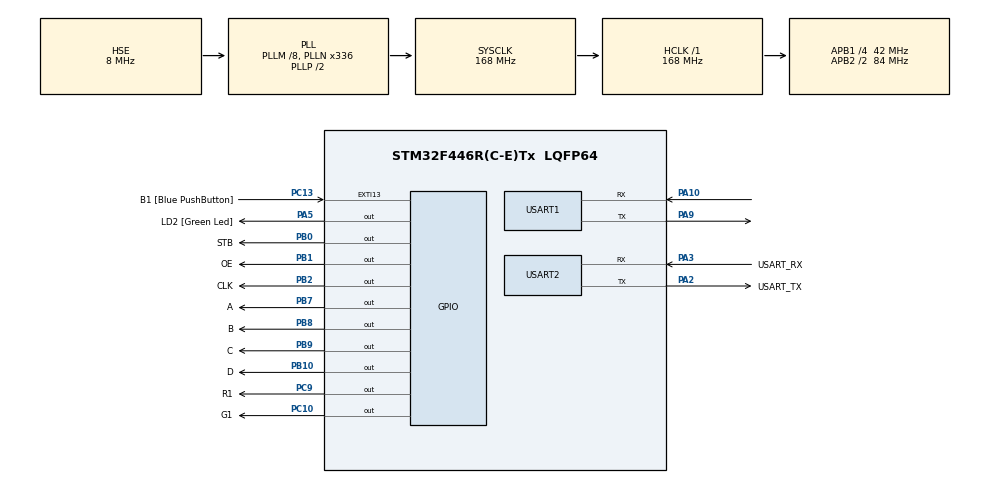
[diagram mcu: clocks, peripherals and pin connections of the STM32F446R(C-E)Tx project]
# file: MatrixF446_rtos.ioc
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ADC1.Channel-0\#ChannelRegularConversion=ADC_CHANNEL_TEMPSENSOR
ADC1.NbrOfConversion=1
ADC1.NbrOfConversionFlag=1
ADC1.Rank-0\#ChannelRegularConversion=1
ADC1.SamplingTime-0\#ChannelRegularConversion=ADC_SAMPLETIME_3CYCLES
ADC1.master=1
Dma.Request0=USART2_TX
Dma.Request1=USART2_RX
Dma.Request2=USART1_RX
Dma.Request3=USART1_TX
Dma.USART1_RX.2.Direction=DMA_PERIPH_TO_MEMORY
Dma.USART1_RX.2.FIFOMode=DMA_FIFOMODE_DISABLE
Dma.USART1_RX.2.Instance=DMA2_Stream2
Dma.USART1_RX.2.MemDataAlignment=DMA_MDATAALIGN_BYTE
Dma.USART1_RX.2.MemInc=DMA_MINC_ENABLE
Dma.USART1_RX.2.Mode=DMA_CIRCULAR
Dma.USART1_RX.2.PeriphDataAlignment=DMA_PDATAALIGN_BYTE
Dma.USART1_RX.2.PeriphInc=DMA_PINC_DISABLE
Dma.USART1_RX.2.Priority=DMA_PRIORITY_LOW
Dma.USART1_TX.3.Direction=DMA_MEMORY_TO_PERIPH
Dma.USART1_TX.3.FIFOMode=DMA_FIFOMODE_DISABLE
Dma.USART1_TX.3.Instance=DMA2_Stream7
Dma.USART1_TX.3.MemDataAlignment=DMA_MDATAALIGN_BYTE
Dma.USART1_TX.3.MemInc=DMA_MINC_ENABLE
Dma.USART1_TX.3.Mode=DMA_NORMAL
Dma.USART1_TX.3.PeriphDataAlignment=DMA_PDATAALIGN_BYTE
Dma.USART1_TX.3.PeriphInc=DMA_PINC_DISABLE
Dma.USART1_TX.3.Priority=DMA_PRIORITY_LOW
Dma.USART2_RX.1.Direction=DMA_PERIPH_TO_MEMORY
Dma.USART2_RX.1.FIFOMode=DMA_FIFOMODE_DISABLE
Dma.USART2_RX.1.Instance=DMA1_Stream5
Dma.USART2_RX.1.MemDataAlignment=DMA_MDATAALIGN_BYTE
Dma.USART2_RX.1.MemInc=DMA_MINC_ENABLE
Dma.USART2_RX.1.Mode=DMA_NORMAL
Dma.USART2_RX.1.PeriphDataAlignment=DMA_PDATAALIGN_BYTE
Dma.USART2_RX.1.PeriphInc=DMA_PINC_DISABLE
Dma.USART2_RX.1.Priority=DMA_PRIORITY_LOW
Dma.USART2_TX.0.Direction=DMA_MEMORY_TO_PERIPH
Dma.USART2_TX.0.FIFOMode=DMA_FIFOMODE_DISABLE
Dma.USART2_TX.0.Instance=DMA1_Stream6
Dma.USART2_TX.0.MemDataAlignment=DMA_MDATAALIGN_BYTE
Dma.USART2_TX.0.MemInc=DMA_MINC_ENABLE
Dma.USART2_TX.0.Mode=DMA_NORMAL
Dma.USART2_TX.0.PeriphDataAlignment=DMA_PDATAALIGN_BYTE
Dma.USART2_TX.0.PeriphInc=DMA_PINC_DISABLE
Dma.USART2_TX.0.Priority=DMA_PRIORITY_LOW
FREERTOS.MEMORY_ALLOCATION=0
FREERTOS.Queues01=uartQueue,60,uint8_t,0,Dynamic,NULL,NULL
FREERTOS.Tasks01=matrixOutTask,0,128,StartMatrixOutTask,Default,NULL,Dynamic,NULL,NULL;uartParseTask,0,128,StartUartParseTask,Default,NULL,Dynamic,NULL,NULL
FREERTOS.Timers01=myTimer01,Callback01,osTimerPeriodic,Default,NULL,Dynamic,NULL
FREERTOS.configENABLE_BACKWARD_COMPATIBILITY=0
FREERTOS.configGENERATE_RUN_TIME_STATS=1
FREERTOS.configUSE_PREEMPTION=1
FREERTOS.configUSE_TIMERS=1
FREERTOS.configUSE_TRACE_FACILITY=1
Mcu.Family=STM32F4
Mcu.Name=STM32F446R(C-E)Tx
Mcu.Package=LQFP64
NVIC.DMA1_Stream5_IRQn=true\:5\:0\:false\:false\:true\:true\:false
NVIC.DMA1_Stream6_IRQn=true\:5\:0\:false\:false\:true\:true\:false
NVIC.DMA2_Stream2_IRQn=true\:5\:0\:false\:false\:true\:true\:false
NVIC.DMA2_Stream7_IRQn=true\:5\:0\:false\:false\:true\:true\:false
NVIC.PriorityGroup=NVIC_PRIORITYGROUP_4
NVIC.RCC_IRQn=true\:5\:0\:false\:false\:true\:true\:true
NVIC.RTC_Alarm_IRQn=true\:5\:0\:false\:false\:true\:true\:true
NVIC.TIM1_UP_TIM10_IRQn=true\:0\:0\:false\:false\:true\:false\:false
NVIC.TIM3_IRQn=true\:5\:0\:false\:false\:true\:true\:true
NVIC.TIM8_CC_IRQn=true\:5\:0\:false\:false\:true\:true\:true
NVIC.TimeBase=TIM1_UP_TIM10_IRQn
NVIC.TimeBaseIP=TIM1
NVIC.USART1_IRQn=true\:5\:0\:false\:false\:true\:true\:true
PA10.Mode=Asynchronous
PA10.Signal=USART1_RX
PA13.GPIO_Label=TMS
PA13.Mode=Trace_Asynchronous_SW
PA13.Signal=SYS_JTMS-SWDIO
PA14.GPIO_Label=TCK
PA14.Mode=Trace_Asynchronous_SW
PA14.Signal=SYS_JTCK-SWCLK
PA2.GPIO_Label=USART_TX
PA2.Mode=Asynchronous
PA2.Signal=USART2_TX
PA3.GPIO_Label=USART_RX
PA3.Mode=Asynchronous
PA3.Signal=USART2_RX
PA5.GPIO_Label=LD2 [Green Led]
PA5.Signal=GPIO_Output
PA9.Mode=Asynchronous
PA9.Signal=USART1_TX
PB0.GPIO_Label=STB
PB0.GPIO_ModeDefaultOutputPP=GPIO_MODE_OUTPUT_PP
PB0.GPIO_PuPd=GPIO_NOPULL
PB0.GPIO_Speed=GPIO_SPEED_FREQ_VERY_HIGH
PB0.Signal=GPIO_Output
PB1.GPIO_Label=OE
PB1.GPIO_ModeDefaultOutputPP=GPIO_MODE_OUTPUT_PP
PB1.GPIO_PuPd=GPIO_NOPULL
PB1.GPIO_Speed=GPIO_SPEED_FREQ_VERY_HIGH
PB1.Signal=GPIO_Output
PB10.GPIO_Label=D
PB10.GPIO_ModeDefaultOutputPP=GPIO_MODE_OUTPUT_PP
PB10.GPIO_PuPd=GPIO_NOPULL
PB10.GPIO_Speed=GPIO_SPEED_FREQ_VERY_HIGH
PB10.Signal=GPIO_Output
PB2.GPIO_Label=CLK
PB2.GPIO_ModeDefaultOutputPP=GPIO_MODE_OUTPUT_PP
PB2.GPIO_PuPd=GPIO_NOPULL
PB2.GPIO_Speed=GPIO_SPEED_FREQ_VERY_HIGH
PB2.Signal=GPIO_Output
PB3.GPIO_Label=SWO
PB3.Mode=Trace_Asynchronous_SW
PB3.Signal=SYS_JTDO-SWO
PB7.GPIO_Label=A
PB7.GPIO_ModeDefaultOutputPP=GPIO_MODE_OUTPUT_PP
PB7.GPIO_PuPd=GPIO_NOPULL
PB7.GPIO_Speed=GPIO_SPEED_FREQ_VERY_HIGH
PB7.Signal=GPIO_Output
PB8.GPIO_Label=B
PB8.GPIO_ModeDefaultOutputPP=GPIO_MODE_OUTPUT_PP
PB8.GPIO_PuPd=GPIO_NOPULL
PB8.GPIO_Speed=GPIO_SPEED_FREQ_VERY_HIGH
PB8.Signal=GPIO_Output
PB9.GPIO_Label=C
PB9.GPIO_ModeDefaultOutputPP=GPIO_MODE_OUTPUT_PP
PB9.GPIO_PuPd=GPIO_NOPULL
PB9.GPIO_Speed=GPIO_SPEED_FREQ_VERY_HIGH
PB9.Signal=GPIO_Output
PC10.GPIO_Label=G1
PC10.GPIO_ModeDefaultOutputPP=GPIO_MODE_OUTPUT_PP
PC10.GPIO_PuPd=GPIO_NOPULL
PC10.GPIO_Speed=GPIO_SPEED_FREQ_VERY_HIGH
PC10.Signal=GPIO_Output
PC13.GPIO_Label=B1 [Blue PushButton]
PC13.GPIO_ModeDefaultEXTI=GPIO_MODE_EVT_FALLING
PC13.Signal=GPXTI13
PC14-OSC32_IN.Mode=LSE-External-Oscillator
PC14-OSC32_IN.Signal=RCC_OSC32_IN
PC15-OSC32_OUT.Mode=LSE-External-Oscillator
PC15-OSC32_OUT.Signal=RCC_OSC32_OUT
PC9.GPIO_Label=R1
PC9.GPIO_ModeDefaultOutputPP=GPIO_MODE_OUTPUT_PP
PC9.GPIO_PuPd=GPIO_NOPULL
PC9.GPIO_Speed=GPIO_SPEED_FREQ_VERY_HIGH
PC9.Signal=GPIO_Output
PH0-OSC_IN.Mode=HSE-External-Oscillator
PH0-OSC_IN.Signal=RCC_OSC_IN
PH1-OSC_OUT.Mode=HSE-External-Oscillator
PH1-OSC_OUT.Signal=RCC_OSC_OUT
ProjectManager.HeapSize=0x200
ProjectManager.StackSize=0x400
ProjectManager.TargetToolchain=MDK-ARM V5
RCC.48MHZClocksFreq_Value=84000000
RCC.AHBFreq_Value=168000000
RCC.APB1CLKDivider=RCC_HCLK_DIV4
RCC.APB1Freq_Value=42000000
RCC.APB1TimFreq_Value=84000000
RCC.APB2CLKDivider=RCC_HCLK_DIV2
RCC.APB2Freq_Value=84000000
RCC.APB2TimFreq_Value=168000000
RCC.CortexFreq_Value=168000000
RCC.FLatency-AdvancedSettings=FLASH_LATENCY_5
RCC.HCLKFreq_Value=168000000
RCC.HSE_VALUE=8000000
RCC.HSI_VALUE=16000000
RCC.PLLM=8
RCC.PLLN=336
RCC.PLLSourceVirtual=RCC_PLLSOURCE_HSE
RCC.RCC_RTC_Clock_SourceVirtual=RCC_RTCCLKSOURCE_HSE_DIV8
RCC.RCC_RTC_Clock_Source_FROM_HSE=RCC_RTCCLKSOURCE_HSE_DIV8
RCC.SYSCLKFreq_VALUE=168000000
RCC.SYSCLKSource=RCC_SYSCLKSOURCE_PLLCLK
RCC.USBFreq_Value=168000000
RCC.VCOOutputFreq_Value=336000000
RTC.Alarm=RTC_ALARM_A
RTC.AsynchPrediv=63
RTC.Hours=12
RTC.SynchPrediv=15624
RTC.Year=18
TIM3.Channel-Output\ Compare1\ No\ Output=TIM_CHANNEL_1
TIM3.Period=42
TIM3.Prescaler=1
TIM8.Channel-Output\ Compare1\ No\ Output=TIM_CHANNEL_1
TIM8.CounterMode=TIM_COUNTERMODE_DOWN
TIM8.Period=42
TIM8.Prescaler=1
USART1.VirtualMode=VM_ASYNC
USART2.VirtualMode=VM_ASYNC
VP_ADC1_TempSens_Input.Mode=IN-TempSens
VP_FREERTOS_VS_ENABLE.Mode=Enabled
VP_RTC_VS_RTC_Activate.Mode=RTC_Enabled
VP_RTC_VS_RTC_Alarm_A_Intern.Mode=Alarm A
VP_RTC_VS_RTC_Calendar.Mode=RTC_Calendar
VP_SYS_VS_tim1.Mode=TIM1
VP_TIM3_VS_ClockSourceINT.Mode=Internal
VP_TIM3_VS_no_output1.Mode=Output Compare1 No Output
VP_TIM8_VS_ClockSourceINT.Mode=Internal
VP_TIM8_VS_no_output1.Mode=Output Compare1 No Output
board=NUCLEO-F446RE

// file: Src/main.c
/**
  ******************************************************************************
  * @file           : main.c
  * @brief          : Main program body
  ******************************************************************************
  * This notice applies to any and all portions of this file
  * that are not between comment pairs USER CODE BEGIN and
  * USER CODE END. Other portions of this file, whether
  * inserted by the user or by software development tools
  * are owned by their respective copyright owners.
  *
  * Copyright (c) 2018 STMicroelectronics International N.V.
  * All rights reserved.
  *
  * Redistribution and use in source and binary forms, with or without
  * modification, are permitted, provided that the following conditions are met:
  *
  * 1. Redistribution of source code must retain the above copyright notice,
  *    this list of conditions and the following disclaimer.
  * 2. Redistributions in binary form must reproduce the above copyright notice,
  *    this list of conditions and the following disclaimer in the documentation
  *    and/or other materials provided with the distribution.
  * 3. Neither the name of STMicroelectronics nor the names of other
  *    contributors to this software may be used to endorse or promote products
  *    derived from this software without specific written permission.
  * 4. This software, including modifications and/or derivative works of this
  *    software, must execute solely and exclusively on microcontroller or
  *    microprocessor devices manufactured by or for STMicroelectronics.
  * 5. Redistribution and use of this software other than as permitted under
  *    this license is void and will automatically terminate your rights under
  *    this license.
  *
  * THIS SOFTWARE IS PROVIDED BY STMICROELECTRONICS AND CONTRIBUTORS "AS IS"
  * AND ANY EXPRESS, IMPLIED OR STATUTORY WARRANTIES, INCLUDING, BUT NOT
  * LIMITED TO, THE IMPLIED WARRANTIES OF MERCHANTABILITY, FITNESS FOR A
  * PARTICULAR PURPOSE AND NON-INFRINGEMENT OF THIRD PARTY INTELLECTUAL PROPERTY
  * RIGHTS ARE DISCLAIMED TO THE FULLEST EXTENT PERMITTED BY LAW. IN NO EVENT
  * SHALL STMICROELECTRONICS OR CONTRIBUTORS BE LIABLE FOR ANY DIRECT, INDIRECT,
  * INCIDENTAL, SPECIAL, EXEMPLARY, OR CONSEQUENTIAL DAMAGES (INCLUDING, BUT NOT
  * LIMITED TO, PROCUREMENT OF SUBSTITUTE GOODS OR SERVICES; LOSS OF USE, DATA,
  * OR PROFITS; OR BUSINESS INTERRUPTION) HOWEVER CAUSED AND ON ANY THEORY OF
  * LIABILITY, WHETHER IN CONTRACT, STRICT LIABILITY, OR TORT (INCLUDING
  * NEGLIGENCE OR OTHERWISE) ARISING IN ANY WAY OUT OF THE USE OF THIS SOFTWARE,
  * EVEN IF ADVISED OF THE POSSIBILITY OF SUCH DAMAGE.
  *
  ******************************************************************************
  */
#include "main.h"
#include "stm32f4xx_hal.h"
#include "cmsis_os.h"

/* USER CODE BEGIN Includes */
#include "FreeRTOS.h"
#include "task.h"
#include "queue.h"
#include "timers.h"

#include "config.h"
#include "framebuffer.h"

#include "uartmachine.h"
/* USER CODE END Includes */

ADC_HandleTypeDef hadc1;

RTC_HandleTypeDef hrtc;

TIM_HandleTypeDef htim3;
TIM_HandleTypeDef htim8;

UART_HandleTypeDef huart1;
UART_HandleTypeDef huart2;
DMA_HandleTypeDef hdma_usart1_rx;
DMA_HandleTypeDef hdma_usart1_tx;
DMA_HandleTypeDef hdma_usart2_tx;
DMA_HandleTypeDef hdma_usart2_rx;

osThreadId matrixOutTaskHandle;
osThreadId uartParseTaskHandle;
osMessageQId uartQueueHandle;
osTimerId myTimer01Handle;

/* USER CODE BEGIN PV */
/* Private variables ---------------------------------------------------------*/
static const unsigned int UART_RECEIVE_COUNT = 8;
static const uint8_t UART_BUFFER_LENGTH = 130;

framebuffer_ut framebufferR [MATRIX_WIDTH + 1];
framebuffer_ut framebufferG [MATRIX_WIDTH + 1];

static char UsartDmaRxBuf_HW[UART_BUFFER_LENGTH];
static char UsartDmaRxBuf_SW[UART_BUFFER_LENGTH];

/* Block signals (default storage) */
B_matrix matrix_B;

/* Block states (default storage) */
DW_matrix matrix_DW;
/* USER CODE END PV */

void SystemClock_Config(void);
static void MX_GPIO_Init(void);
static void MX_DMA_Init(void);
static void MX_USART2_UART_Init(void);
static void MX_RTC_Init(void);
static void MX_USART1_UART_Init(void);
static void MX_TIM8_Init(void);
static void MX_TIM3_Init(void);
static void MX_ADC1_Init(void);
void StartMatrixOutTask(void const* argument);
void StartUartParseTask(void const* argument);
void Callback01(void const* argument);

/* USER CODE BEGIN PFP */
/* Private function prototypes -----------------------------------------------*/

/* USER CODE END PFP */

/* USER CODE BEGIN 0 */
void HAL_UART_RxCpltCallback(UART_HandleTypeDef* huartcplt)
{
    BaseType_t xHigherPriorityTakeWoken = pdFALSE;
    if(huartcplt == &huart1)
    {
        __NOP();
    }
    else if(huartcplt == &huart2)
    {
        for(int i = 0; i < UART_BUFFER_LENGTH; i++)
        {
            UsartDmaRxBuf_SW[i] = UsartDmaRxBuf_HW[i];
        }
        //Framebuffer_Putch(UsartDmaRxBuf_SW, 0, YELLOW, 1);
        xQueueSendToBackFromISR(uartQueueHandle, &UsartDmaRxBuf_SW[0], &xHigherPriorityTakeWoken);
        xTaskResumeFromISR(uartParseTaskHandle);
        // restart receiving
        if(HAL_UART_Receive_DMA(&huart2, (uint8_t*) UsartDmaRxBuf_HW, 1) != HAL_OK)
        {
            Error_Handler();
        }
        return;
    }
    else
    {
        Error_Handler();
    }
}
/* USER CODE END 0 */

int main(void)
{
    /* MCU Configuration----------------------------------------------------------*/
    /* Reset of all peripherals, Initializes the Flash interface and the Systick. */
    HAL_Init();
    /* Configure the system clock */
    SystemClock_Config();
    /* Initialize all configured peripherals */
    MX_GPIO_Init();
    MX_DMA_Init();
    MX_USART2_UART_Init();
    MX_RTC_Init();
    MX_USART1_UART_Init();
    MX_TIM8_Init();
    MX_TIM3_Init();
    MX_ADC1_Init();
    /* Create the timer(s) */
    /* definition and creation of myTimer01 */
    osTimerDef(myTimer01, Callback01);
    myTimer01Handle = osTimerCreate(osTimer(myTimer01), osTimerPeriodic, NULL);
    /* Create the thread(s) */
    /* definition and creation of matrixOutTask */
    osThreadDef(matrixOutTask, StartMatrixOutTask, osPriorityNormal, 0, 128);
    matrixOutTaskHandle = osThreadCreate(osThread(matrixOutTask), NULL);
    /* definition and creation of uartParseTask */
    osThreadDef(uartParseTask, StartUartParseTask, osPriorityNormal, 0, 128);
    uartParseTaskHandle = osThreadCreate(osThread(uartParseTask), NULL);
    /* Create the queue(s) */
    /* definition and creation of uartQueue */
    osMessageQDef(uartQueue, 60, uint8_t);
    uartQueueHandle = osMessageCreate(osMessageQ(uartQueue), NULL);
    /* Start scheduler */
    osKernelStart();
    /* We should never get here as control is now taken by the scheduler */
    /* Infinite loop */
    while(1)
    {
    }
}

void SystemClock_Config(void)
{
    RCC_OscInitTypeDef RCC_OscInitStruct;
    RCC_ClkInitTypeDef RCC_ClkInitStruct;
    RCC_PeriphCLKInitTypeDef PeriphClkInitStruct;
    /**Configure the main internal regulator output voltage
    */
    __HAL_RCC_PWR_CLK_ENABLE();
    __HAL_PWR_VOLTAGESCALING_CONFIG(PWR_REGULATOR_VOLTAGE_SCALE1);
    /**Initializes the CPU, AHB and APB busses clocks
    */
    RCC_OscInitStruct.OscillatorType = RCC_OSCILLATORTYPE_HSE;
    RCC_OscInitStruct.HSEState = RCC_HSE_ON;
    RCC_OscInitStruct.LSEState = RCC_LSE_ON;
    RCC_OscInitStruct.PLL.PLLState = RCC_PLL_ON;
    RCC_OscInitStruct.PLL.PLLSource = RCC_PLLSOURCE_HSE;
    RCC_OscInitStruct.PLL.PLLM = 8;
    RCC_OscInitStruct.PLL.PLLN = 336;
    RCC_OscInitStruct.PLL.PLLP = RCC_PLLP_DIV2;
    RCC_OscInitStruct.PLL.PLLQ = 2;
    RCC_OscInitStruct.PLL.PLLR = 2;
    if(HAL_RCC_OscConfig(&RCC_OscInitStruct) != HAL_OK)
    {
        _Error_Handler(__FILE__, __LINE__);
    }
    /**Initializes the CPU, AHB and APB busses clocks
    */
    RCC_ClkInitStruct.ClockType = RCC_CLOCKTYPE_HCLK | RCC_CLOCKTYPE_SYSCLK
                                  | RCC_CLOCKTYPE_PCLK1 | RCC_CLOCKTYPE_PCLK2;
    RCC_ClkInitStruct.SYSCLKSource = RCC_SYSCLKSOURCE_PLLCLK;
    RCC_ClkInitStruct.AHBCLKDivider = RCC_SYSCLK_DIV1;
    RCC_ClkInitStruct.APB1CLKDivider = RCC_HCLK_DIV4;
    RCC_ClkInitStruct.APB2CLKDivider = RCC_HCLK_DIV2;
    if(HAL_RCC_ClockConfig(&RCC_ClkInitStruct, FLASH_LATENCY_5) != HAL_OK)
    {
        _Error_Handler(__FILE__, __LINE__);
    }
    PeriphClkInitStruct.PeriphClockSelection = RCC_PERIPHCLK_RTC;
    PeriphClkInitStruct.RTCClockSelection = RCC_RTCCLKSOURCE_HSE_DIV8;
    if(HAL_RCCEx_PeriphCLKConfig(&PeriphClkInitStruct) != HAL_OK)
    {
        _Error_Handler(__FILE__, __LINE__);
    }
    /**Configure the Systick interrupt time
    */
    HAL_SYSTICK_Config(HAL_RCC_GetHCLKFreq() / 1000);
    /**Configure the Systick
    */
    HAL_SYSTICK_CLKSourceConfig(SYSTICK_CLKSOURCE_HCLK);
    /* SysTick_IRQn interrupt configuration */
    HAL_NVIC_SetPriority(SysTick_IRQn, 15, 0);
}

/* ADC1 init function */
static void MX_ADC1_Init(void)
{
    ADC_ChannelConfTypeDef sConfig;
    /**Configure the global features of the ADC (Clock, Resolution, Data Alignment and number of conversion)
    */
    hadc1.Instance = ADC1;
    hadc1.Init.ClockPrescaler = ADC_CLOCK_SYNC_PCLK_DIV4;
    hadc1.Init.Resolution = ADC_RESOLUTION_12B;
    hadc1.Init.ScanConvMode = DISABLE;
    hadc1.Init.ContinuousConvMode = DISABLE;
    hadc1.Init.DiscontinuousConvMode = DISABLE;
    hadc1.Init.ExternalTrigConvEdge = ADC_EXTERNALTRIGCONVEDGE_NONE;
    hadc1.Init.ExternalTrigConv = ADC_SOFTWARE_START;
    hadc1.Init.DataAlign = ADC_DATAALIGN_RIGHT;
    hadc1.Init.NbrOfConversion = 1;
    hadc1.Init.DMAContinuousRequests = DISABLE;
    hadc1.Init.EOCSelection = ADC_EOC_SINGLE_CONV;
    if(HAL_ADC_Init(&hadc1) != HAL_OK)
    {
        _Error_Handler(__FILE__, __LINE__);
    }
    /**Configure for the selected ADC regular channel its corresponding rank in the sequencer and its sample time.
    */
    sConfig.Channel = ADC_CHANNEL_TEMPSENSOR;
    sConfig.Rank = 1;
    sConfig.SamplingTime = ADC_SAMPLETIME_3CYCLES;
    if(HAL_ADC_ConfigChannel(&hadc1, &sConfig) != HAL_OK)
    {
        _Error_Handler(__FILE__, __LINE__);
    }
}

/* RTC init function */
static void MX_RTC_Init(void)
{
    RTC_TimeTypeDef sTime;
    RTC_DateTypeDef sDate;
    RTC_AlarmTypeDef sAlarm;
    /**Initialize RTC Only
    */
    hrtc.Instance = RTC;
    if(HAL_RTCEx_BKUPRead(&hrtc, RTC_BKP_DR0) != 0x32F2)
    {
        hrtc.Init.HourFormat = RTC_HOURFORMAT_24;
        hrtc.Init.AsynchPrediv = 63;
        hrtc.Init.SynchPrediv = 15624;
        hrtc.Init.OutPut = RTC_OUTPUT_DISABLE;
        hrtc.Init.OutPutPolarity = RTC_OUTPUT_POLARITY_HIGH;
        hrtc.Init.OutPutType = RTC_OUTPUT_TYPE_OPENDRAIN;
        if(HAL_RTC_Init(&hrtc) != HAL_OK)
        {
            _Error_Handler(__FILE__, __LINE__);
        }
        /**Initialize RTC and set the Time and Date
        */
        sTime.Hours = 0x12;
        sTime.Minutes = 0x0;
        sTime.Seconds = 0x0;
        sTime.DayLightSaving = RTC_DAYLIGHTSAVING_NONE;
        sTime.StoreOperation = RTC_STOREOPERATION_RESET;
        if(HAL_RTC_SetTime(&hrtc, &sTime, RTC_FORMAT_BCD) != HAL_OK)
        {
            _Error_Handler(__FILE__, __LINE__);
        }
        sDate.WeekDay = RTC_WEEKDAY_MONDAY;
        sDate.Month = RTC_MONTH_JANUARY;
        sDate.Date = 0x1;
        sDate.Year = 0x18;
        if(HAL_RTC_SetDate(&hrtc, &sDate, RTC_FORMAT_BCD) != HAL_OK)
        {
            _Error_Handler(__FILE__, __LINE__);
        }
        /**Enable the Alarm A
        */
        sAlarm.AlarmTime.Hours = 0x0;
        sAlarm.AlarmTime.Minutes = 0x0;
        sAlarm.AlarmTime.Seconds = 0x0;
        sAlarm.AlarmTime.SubSeconds = 0x0;
        sAlarm.AlarmTime.DayLightSaving = RTC_DAYLIGHTSAVING_NONE;
        sAlarm.AlarmTime.StoreOperation = RTC_STOREOPERATION_RESET;
        sAlarm.AlarmMask = RTC_ALARMMASK_NONE;
        sAlarm.AlarmSubSecondMask = RTC_ALARMSUBSECONDMASK_ALL;
        sAlarm.AlarmDateWeekDaySel = RTC_ALARMDATEWEEKDAYSEL_DATE;
        sAlarm.AlarmDateWeekDay = 0x1;
        sAlarm.Alarm = RTC_ALARM_A;
        if(HAL_RTC_SetAlarm_IT(&hrtc, &sAlarm, RTC_FORMAT_BCD) != HAL_OK)
        {
            _Error_Handler(__FILE__, __LINE__);
        }
        HAL_RTCEx_BKUPWrite(&hrtc, RTC_BKP_DR0, 0x32F2);
    }
}

/* TIM3 init function */
static void MX_TIM3_Init(void)
{
    TIM_ClockConfigTypeDef sClockSourceConfig;
    TIM_MasterConfigTypeDef sMasterConfig;
    TIM_OC_InitTypeDef sConfigOC;
    htim3.Instance = TIM3;
    htim3.Init.Prescaler = 1;
    htim3.Init.CounterMode = TIM_COUNTERMODE_UP;
    htim3.Init.Period = 42;
    htim3.Init.ClockDivision = TIM_CLOCKDIVISION_DIV1;
    if(HAL_TIM_Base_Init(&htim3) != HAL_OK)
    {
        _Error_Handler(__FILE__, __LINE__);
    }
    sClockSourceConfig.ClockSource = TIM_CLOCKSOURCE_INTERNAL;
    if(HAL_TIM_ConfigClockSource(&htim3, &sClockSourceConfig) != HAL_OK)
    {
        _Error_Handler(__FILE__, __LINE__);
    }
    if(HAL_TIM_OC_Init(&htim3) != HAL_OK)
    {
        _Error_Handler(__FILE__, __LINE__);
    }
    sMasterConfig.MasterOutputTrigger = TIM_TRGO_RESET;
    sMasterConfig.MasterSlaveMode = TIM_MASTERSLAVEMODE_DISABLE;
    if(HAL_TIMEx_MasterConfigSynchronization(&htim3, &sMasterConfig) != HAL_OK)
    {
        _Error_Handler(__FILE__, __LINE__);
    }
    sConfigOC.OCMode = TIM_OCMODE_TIMING;
    sConfigOC.Pulse = 0;
    sConfigOC.OCPolarity = TIM_OCPOLARITY_HIGH;
    sConfigOC.OCFastMode = TIM_OCFAST_DISABLE;
    if(HAL_TIM_OC_ConfigChannel(&htim3, &sConfigOC, TIM_CHANNEL_1) != HAL_OK)
    {
        _Error_Handler(__FILE__, __LINE__);
    }
}

/* TIM8 init function */
static void MX_TIM8_Init(void)
{
    TIM_ClockConfigTypeDef sClockSourceConfig;
    TIM_MasterConfigTypeDef sMasterConfig;
    TIM_OC_InitTypeDef sConfigOC;
    TIM_BreakDeadTimeConfigTypeDef sBreakDeadTimeConfig;
    htim8.Instance = TIM8;
    htim8.Init.Prescaler = 1;
    htim8.Init.CounterMode = TIM_COUNTERMODE_DOWN;
    htim8.Init.Period = 42;
    htim8.Init.ClockDivision = TIM_CLOCKDIVISION_DIV1;
    htim8.Init.RepetitionCounter = 0;
    if(HAL_TIM_Base_Init(&htim8) != HAL_OK)
    {
        _Error_Handler(__FILE__, __LINE__);
    }
    sClockSourceConfig.ClockSource = TIM_CLOCKSOURCE_INTERNAL;
    if(HAL_TIM_ConfigClockSource(&htim8, &sClockSourceConfig) != HAL_OK)
    {
        _Error_Handler(__FILE__, __LINE__);
    }
    if(HAL_TIM_OC_Init(&htim8) != HAL_OK)
    {
        _Error_Handler(__FILE__, __LINE__);
    }
    sMasterConfig.MasterOutputTrigger = TIM_TRGO_RESET;
    sMasterConfig.MasterSlaveMode = TIM_MASTERSLAVEMODE_DISABLE;
    if(HAL_TIMEx_MasterConfigSynchronization(&htim8, &sMasterConfig) != HAL_OK)
    {
        _Error_Handler(__FILE__, __LINE__);
    }
    sConfigOC.OCMode = TIM_OCMODE_TIMING;
    sConfigOC.Pulse = 0;
    sConfigOC.OCPolarity = TIM_OCPOLARITY_HIGH;
    sConfigOC.OCNPolarity = TIM_OCNPOLARITY_HIGH;
    sConfigOC.OCFastMode = TIM_OCFAST_DISABLE;
    sConfigOC.OCIdleState = TIM_OCIDLESTATE_RESET;
    sConfigOC.OCNIdleState = TIM_OCNIDLESTATE_RESET;
    if(HAL_TIM_OC_ConfigChannel(&htim8, &sConfigOC, TIM_CHANNEL_1) != HAL_OK)
    {
        _Error_Handler(__FILE__, __LINE__);
    }
    sBreakDeadTimeConfig.OffStateRunMode = TIM_OSSR_DISABLE;
    sBreakDeadTimeConfig.OffStateIDLEMode = TIM_OSSI_DISABLE;
    sBreakDeadTimeConfig.LockLevel = TIM_LOCKLEVEL_OFF;
    sBreakDeadTimeConfig.DeadTime = 0;
    sBreakDeadTimeConfig.BreakState = TIM_BREAK_DISABLE;
    sBreakDeadTimeConfig.BreakPolarity = TIM_BREAKPOLARITY_HIGH;
    sBreakDeadTimeConfig.AutomaticOutput = TIM_AUTOMATICOUTPUT_DISABLE;
    if(HAL_TIMEx_ConfigBreakDeadTime(&htim8, &sBreakDeadTimeConfig) != HAL_OK)
    {
        _Error_Handler(__FILE__, __LINE__);
    }
}

/* USART1 init function */
static void MX_USART1_UART_Init(void)
{
    huart1.Instance = USART1;
    huart1.Init.BaudRate = 115200;
    huart1.Init.WordLength = UART_WORDLENGTH_8B;
    huart1.Init.StopBits = UART_STOPBITS_1;
    huart1.Init.Parity = UART_PARITY_NONE;
    huart1.Init.Mode = UART_MODE_TX_RX;
    huart1.Init.HwFlowCtl = UART_HWCONTROL_NONE;
    huart1.Init.OverSampling = UART_OVERSAMPLING_16;
    if(HAL_UART_Init(&huart1) != HAL_OK)
    {
        _Error_Handler(__FILE__, __LINE__);
    }
}

/* USART2 init function */
static void MX_USART2_UART_Init(void)
{
    huart2.Instance = USART2;
    huart2.Init.BaudRate = 115200;
    huart2.Init.WordLength = UART_WORDLENGTH_8B;
    huart2.Init.StopBits = UART_STOPBITS_1;
    huart2.Init.Parity = UART_PARITY_NONE;
    huart2.Init.Mode = UART_MODE_TX_RX;
    huart2.Init.HwFlowCtl = UART_HWCONTROL_NONE;
    huart2.Init.OverSampling = UART_OVERSAMPLING_16;
    if(HAL_UART_Init(&huart2) != HAL_OK)
    {
        _Error_Handler(__FILE__, __LINE__);
    }
}

static void MX_DMA_Init(void)
{
    /* DMA controller clock enable */
    __HAL_RCC_DMA1_CLK_ENABLE();
    __HAL_RCC_DMA2_CLK_ENABLE();
    /* DMA interrupt init */
    /* DMA1_Stream5_IRQn interrupt configuration */
    HAL_NVIC_SetPriority(DMA1_Stream5_IRQn, 5, 0);
    HAL_NVIC_EnableIRQ(DMA1_Stream5_IRQn);
    /* DMA1_Stream6_IRQn interrupt configuration */
    HAL_NVIC_SetPriority(DMA1_Stream6_IRQn, 5, 0);
    HAL_NVIC_EnableIRQ(DMA1_Stream6_IRQn);
    /* DMA2_Stream2_IRQn interrupt configuration */
    HAL_NVIC_SetPriority(DMA2_Stream2_IRQn, 5, 0);
    HAL_NVIC_EnableIRQ(DMA2_Stream2_IRQn);
    /* DMA2_Stream7_IRQn interrupt configuration */
    HAL_NVIC_SetPriority(DMA2_Stream7_IRQn, 5, 0);
    HAL_NVIC_EnableIRQ(DMA2_Stream7_IRQn);
}

/** Configure pins as
        * Analog
        * Input
        * Output
        * EVENT_OUT
        * EXTI
*/
static void MX_GPIO_Init(void)
{
    GPIO_InitTypeDef GPIO_InitStruct;
    /* GPIO Ports Clock Enable */
    __HAL_RCC_GPIOC_CLK_ENABLE();
    __HAL_RCC_GPIOH_CLK_ENABLE();
    __HAL_RCC_GPIOA_CLK_ENABLE();
    __HAL_RCC_GPIOB_CLK_ENABLE();
    /*Configure GPIO pin Output Level */
    HAL_GPIO_WritePin(LD2_GPIO_Port, LD2_Pin, GPIO_PIN_RESET);
    /*Configure GPIO pin Output Level */
    HAL_GPIO_WritePin(GPIOB, STB_Pin | OE_Pin | CLK_Pin | D_Pin
                      | A_Pin | B_Pin | C_Pin, GPIO_PIN_RESET);
    /*Configure GPIO pin Output Level */
    HAL_GPIO_WritePin(GPIOC, R1_Pin | G1_Pin, GPIO_PIN_RESET);
    /*Configure GPIO pin : B1_Pin */
    GPIO_InitStruct.Pin = B1_Pin;
    GPIO_InitStruct.Mode = GPIO_MODE_EVT_FALLING;
    GPIO_InitStruct.Pull = GPIO_NOPULL;
    HAL_GPIO_Init(B1_GPIO_Port, &GPIO_InitStruct);
    /*Configure GPIO pin : LD2_Pin */
    GPIO_InitStruct.Pin = LD2_Pin;
    GPIO_InitStruct.Mode = GPIO_MODE_OUTPUT_PP;
    GPIO_InitStruct.Pull = GPIO_NOPULL;
    GPIO_InitStruct.Speed = GPIO_SPEED_FREQ_LOW;
    HAL_GPIO_Init(LD2_GPIO_Port, &GPIO_InitStruct);
    /*Configure GPIO pins : STB_Pin OE_Pin CLK_Pin D_Pin
                             A_Pin B_Pin C_Pin */
    GPIO_InitStruct.Pin = STB_Pin | OE_Pin | CLK_Pin | D_Pin
                          | A_Pin | B_Pin | C_Pin;
    GPIO_InitStruct.Mode = GPIO_MODE_OUTPUT_PP;
    GPIO_InitStruct.Pull = GPIO_NOPULL;
    GPIO_InitStruct.Speed = GPIO_SPEED_FREQ_VERY_HIGH;
    HAL_GPIO_Init(GPIOB, &GPIO_InitStruct);
    /*Configure GPIO pins : R1_Pin G1_Pin */
    GPIO_InitStruct.Pin = R1_Pin | G1_Pin;
    GPIO_InitStruct.Mode = GPIO_MODE_OUTPUT_PP;
    GPIO_InitStruct.Pull = GPIO_NOPULL;
    GPIO_InitStruct.Speed = GPIO_SPEED_FREQ_VERY_HIGH;
    HAL_GPIO_Init(GPIOC, &GPIO_InitStruct);
}

/* StartMatrixOutTask function */
void StartMatrixOutTask(void const* argument)
{
    /* USER CODE BEGIN 5 */
    Framebuffer_Init();
    printf("Framebuffer Init: [OK]\n");
    printf("MatrixOutTask Started\n");
    /* Infinite loop */
    for(;;)
    {
        Framebuffer_Write();
        //osDelay(1);
        osThreadYield();
    }
    /* USER CODE END 5 */
}

/* StartUartParseTask function */
void StartUartParseTask(void const* argument)
{
    /* USER CODE BEGIN StartUartParseTask */
    /* Infinite loop */
    uint8_t RxChar;
    BaseType_t xStatus;
    matrix_DW.is_c1_matrix = 1; //matrix_IN_Start constant from uartmachine.c
    if(1)
    {
        uint8_t buffer[] = "UartParseTask Started\n";
        printf("%s", buffer);
        HAL_UART_Transmit_DMA(&huart2, buffer, sizeof(buffer) / sizeof(buffer[0]) - 1);
    }
    if(HAL_UART_Receive_DMA(&huart2, (uint8_t*) UsartDmaRxBuf_HW, 1) != HAL_OK)
    {
        Error_Handler();
    }
    for(;;)
    {
        HAL_GPIO_TogglePin(LD2_GPIO_Port, LD2_Pin);
        osDelay(100);
        while(uxQueueMessagesWaiting(uartQueueHandle) > 0)
        {
            xStatus = xQueueReceive(uartQueueHandle, &(RxChar), (TickType_t) 2);
            if(xStatus == pdPASS)
            {
                printf("QUEUE Read Successful! ");
                printf("%c ", RxChar);
                printf("%d\n", nextchar(RxChar));
            }
            else
            {
                printf("Could not receive from queue!\n");
            }
        }
        vTaskSuspend(uartParseTaskHandle);
    }
    /* USER CODE END StartUartParseTask */
}

/* Callback01 function */
void Callback01(void const* argument)
{
}

void HAL_TIM_PeriodElapsedCallback(TIM_HandleTypeDef* htim)
{
    if(htim->Instance == TIM1)
    {
        HAL_IncTick();
    }
}

void _Error_Handler(char* file, int line)
{
    /* USER CODE BEGIN Error_Handler_Debug */
    /* User can add his own implementation to report the HAL error return state */
    printf("Error occured at %s line %d", file, line);
    while(1)
    {
    }
    /* USER CODE END Error_Handler_Debug */
}

#ifdef  USE_FULL_ASSERT
/**
  * @brief  Reports the name of the source file and the source line number
  *         where the assert_param error has occurred.
  * @param  file: pointer to the source file name
  * @param  line: assert_param error line source number
  * @retval None
  */
void assert_failed(uint8_t* file, uint32_t line)
{
    /* USER CODE BEGIN 6 */
    /* User can add his own implementation to report the file name and line number,*/
    printf("Wrong parameters value: file %s on line %d\r\n", file, line);
    /* USER CODE END 6 */
}
#endif /* USE_FULL_ASSERT */

/************************ (C) COPYRIGHT STMicroelectronics *****END OF FILE****/

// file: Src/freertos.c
/**
  ******************************************************************************
  * File Name          : freertos.c
  * Description        : Code for freertos applications
  ******************************************************************************
  * This notice applies to any and all portions of this file
  * that are not between comment pairs USER CODE BEGIN and
  * USER CODE END. Other portions of this file, whether
  * inserted by the user or by software development tools
  * are owned by their respective copyright owners.
  *
  * Copyright (c) 2018 STMicroelectronics International N.V.
  * All rights reserved.
  *
  * Redistribution and use in source and binary forms, with or without
  * modification, are permitted, provided that the following conditions are met:
  *
  * 1. Redistribution of source code must retain the above copyright notice,
  *    this list of conditions and the following disclaimer.
  * 2. Redistributions in binary form must reproduce the above copyright notice,
  *    this list of conditions and the following disclaimer in the documentation
  *    and/or other materials provided with the distribution.
  * 3. Neither the name of STMicroelectronics nor the names of other
  *    contributors to this software may be used to endorse or promote products
  *    derived from this software without specific written permission.
  * 4. This software, including modifications and/or derivative works of this
  *    software, must execute solely and exclusively on microcontroller or
  *    microprocessor devices manufactured by or for STMicroelectronics.
  * 5. Redistribution and use of this software other than as permitted under
  *    this license is void and will automatically terminate your rights under
  *    this license.
  *
  * THIS SOFTWARE IS PROVIDED BY STMICROELECTRONICS AND CONTRIBUTORS "AS IS"
  * AND ANY EXPRESS, IMPLIED OR STATUTORY WARRANTIES, INCLUDING, BUT NOT
  * LIMITED TO, THE IMPLIED WARRANTIES OF MERCHANTABILITY, FITNESS FOR A
  * PARTICULAR PURPOSE AND NON-INFRINGEMENT OF THIRD PARTY INTELLECTUAL PROPERTY
  * RIGHTS ARE DISCLAIMED TO THE FULLEST EXTENT PERMITTED BY LAW. IN NO EVENT
  * SHALL STMICROELECTRONICS OR CONTRIBUTORS BE LIABLE FOR ANY DIRECT, INDIRECT,
  * INCIDENTAL, SPECIAL, EXEMPLARY, OR CONSEQUENTIAL DAMAGES (INCLUDING, BUT NOT
  * LIMITED TO, PROCUREMENT OF SUBSTITUTE GOODS OR SERVICES; LOSS OF USE, DATA,
  * OR PROFITS; OR BUSINESS INTERRUPTION) HOWEVER CAUSED AND ON ANY THEORY OF
  * LIABILITY, WHETHER IN CONTRACT, STRICT LIABILITY, OR TORT (INCLUDING
  * NEGLIGENCE OR OTHERWISE) ARISING IN ANY WAY OUT OF THE USE OF THIS SOFTWARE,
  * EVEN IF ADVISED OF THE POSSIBILITY OF SUCH DAMAGE.
  *
  ******************************************************************************
  */

#include "FreeRTOS.h"
#include "task.h"

/* Hook prototypes */
void configureTimerForRunTimeStats(void);
unsigned long getRunTimeCounterValue(void);

/* USER CODE BEGIN 1 */
/* Functions needed when configGENERATE_RUN_TIME_STATS is on */
__weak void configureTimerForRunTimeStats(void)
{
}

__weak unsigned long getRunTimeCounterValue(void)
{
    return 0;
}
/* USER CODE END 1 */

/************************ (C) COPYRIGHT STMicroelectronics *****END OF FILE****/
